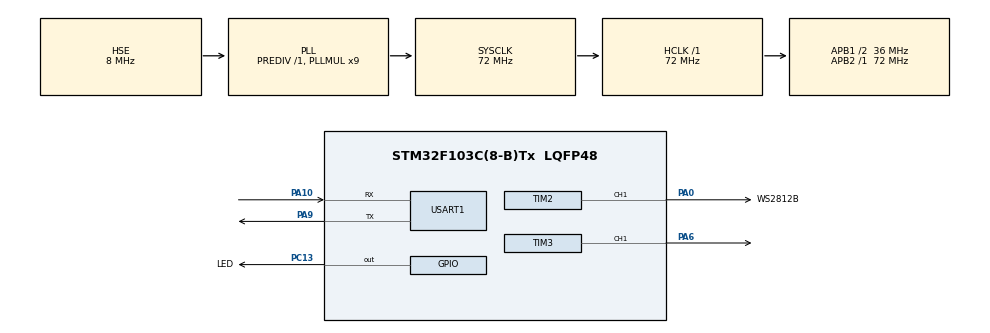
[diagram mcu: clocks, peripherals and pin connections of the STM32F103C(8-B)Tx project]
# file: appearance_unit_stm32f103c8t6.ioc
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FREERTOS.Tasks01=defaultTask,24,128,StartDefaultTask,Default,NULL,Dynamic,NULL,NULL
Mcu.Family=STM32F1
Mcu.Name=STM32F103C(8-B)Tx
Mcu.Package=LQFP48
NVIC.PriorityGroup=NVIC_PRIORITYGROUP_4
NVIC.TIM1_UP_IRQn=true\:15\:0\:false\:false\:true\:false\:false\:true\:true
NVIC.TimeBase=TIM1_UP_IRQn
NVIC.TimeBaseIP=TIM1
PA0-WKUP.GPIO_Label=WS2812B
PA0-WKUP.Signal=S_TIM2_CH1_ETR
PA10.Mode=Asynchronous
PA10.Signal=USART1_RX
PA13.Mode=Serial_Wire
PA13.Signal=SYS_JTMS-SWDIO
PA14.Mode=Serial_Wire
PA14.Signal=SYS_JTCK-SWCLK
PA6.Signal=S_TIM3_CH1
PA9.Mode=Asynchronous
PA9.Signal=USART1_TX
PC13-TAMPER-RTC.GPIO_Label=LED
PC13-TAMPER-RTC.Signal=GPIO_Output
PD0-OSC_IN.Mode=HSE-External-Oscillator
PD0-OSC_IN.Signal=RCC_OSC_IN
PD1-OSC_OUT.Mode=HSE-External-Oscillator
PD1-OSC_OUT.Signal=RCC_OSC_OUT
ProjectManager.HeapSize=0x200
ProjectManager.StackSize=0x400
ProjectManager.TargetToolchain=CMake
RCC.AHBFreq_Value=72000000
RCC.APB1CLKDivider=RCC_HCLK_DIV2
RCC.APB1Freq_Value=36000000
RCC.APB1TimFreq_Value=72000000
RCC.APB2Freq_Value=72000000
RCC.APB2TimFreq_Value=72000000
RCC.HCLKFreq_Value=72000000
RCC.PLLMUL=RCC_PLL_MUL9
RCC.PLLSourceVirtual=RCC_PLLSOURCE_HSE
RCC.SYSCLKFreq_VALUE=72000000
RCC.SYSCLKSource=RCC_SYSCLKSOURCE_PLLCLK
RCC.USBFreq_Value=72000000
SH.S_TIM2_CH1_ETR.0=TIM2_CH1,PWM Generation1 CH1
SH.S_TIM3_CH1.0=TIM3_CH1,PWM Generation1 CH1
TIM2.AutoReloadPreload=TIM_AUTORELOAD_PRELOAD_DISABLE
TIM2.Channel-PWM\ Generation1\ CH1=TIM_CHANNEL_1
TIM2.Prescaler=0
TIM3.AutoReloadPreload=TIM_AUTORELOAD_PRELOAD_ENABLE
TIM3.Channel-PWM\ Generation1\ CH1=TIM_CHANNEL_1
TIM3.Prescaler=71
USART1.VirtualMode=VM_ASYNC
VP_FREERTOS_VS_CMSIS_V2.Mode=CMSIS_V2
VP_SYS_VS_tim1.Mode=TIM1
board=custom

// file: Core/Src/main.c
/* USER CODE BEGIN Header */
/**
  ******************************************************************************
  * @file           : main.c
  * @brief          : Main program body
  ******************************************************************************
  * @attention
  *
  * Copyright (c) 2026 STMicroelectronics.
  * All rights reserved.
  *
  * This software is licensed under terms that can be found in the LICENSE file
  * in the root directory of this software component.
  * If no LICENSE file comes with this software, it is provided AS-IS.
  *
  ******************************************************************************
  */
/* USER CODE END Header */
#include "main.h"
#include "cmsis_os.h"
#include "tim.h"
#include "usart.h"
#include "gpio.h"

/* USER CODE BEGIN Includes */

#include "ws2812b.h"

/* USER CODE END Includes */

/* USER CODE BEGIN PD */

#define LEDS 37

/* USER CODE END PD */

/* USER CODE BEGIN PV */

uint8_t uart_rx_buffer[1];

/* USER CODE END PV */

void SystemClock_Config(void);
void MX_FREERTOS_Init(void);

/* USER CODE BEGIN 0 */

// TIME TO ADD SOME MISHURA!!!

// Defining functions to use buzzer (IDK why I need that but it looks...no... sounds very nice)
static void Tone(uint32_t Frequency)
{
    TIM3->ARR = (1000000UL / Frequency) - 1; // Set The PWM Frequency
    TIM3->CCR1 = (TIM3->ARR >> 1); // Set Duty Cycle 50%
}

static void noTone() {TIM3->CCR1 = 0;} // Set Duty Cycle 0%

// Defining melodies
static void powerup_sound()
{
  Tone(523);
  HAL_Delay(30);
  noTone();
  HAL_Delay(20);

  Tone(698);
  HAL_Delay(30);
  noTone();
  HAL_Delay(20);
}

static void inited_sound()
{
  Tone(392);
  HAL_Delay(70);
  noTone();
  HAL_Delay(30);

  Tone(523);
  HAL_Delay(70);
  noTone();
  HAL_Delay(30);

  Tone(622);
  HAL_Delay(70);
  noTone();
  HAL_Delay(30);

  Tone(784);
  HAL_Delay(70);
  noTone();
  HAL_Delay(30);
}

static void alert_sound()
{
  for(uint8_t i=0;i<4;i++)
  {
    Tone(1047);
    HAL_Delay(70);
    noTone();
    HAL_Delay(30);
  }
  noTone();
}

static void failure_sound()
{
  for(uint8_t i=0;i<5;i++)
  {
    Tone(523);
    HAL_Delay(70);
    noTone();
    HAL_Delay(50);
  }
}

static void powerup_animation()
{
  for(uint8_t i=0;i<LEDS;i++)
  {
    for(uint8_t ii=i;ii<i+2;ii++) {WS2812B_setPixel(0,i+ii,255,255,0);}
    WS2812B_sendBuffer();
    HAL_Delay(100);
    WS2812B_clearBuffer();
  }
  for(uint8_t i=LEDS;i>0;i--)
  {
    for(uint8_t ii=i+2;ii>i;ii--) {WS2812B_setPixel(0,i+ii,255,255,0);}
    WS2812B_sendBuffer();
    HAL_Delay(100);
    WS2812B_clearBuffer();
  }
}

/* USER CODE END 0 */

int main(void)
{

  /* MCU Configuration--------------------------------------------------------*/

  /* Reset of all peripherals, Initializes the Flash interface and the Systick. */
6  HAL_Init();

  /* Configure the system clock */
  SystemClock_Config();

  /* Initialize all configured peripherals */
  MX_GPIO_Init();
  MX_TIM2_Init();
  MX_USART1_UART_Init();
  MX_TIM3_Init();
  /* USER CODE BEGIN 2 */

  HAL_TIM_PWM_Start(&htim2, TIM_CHANNEL_2);
  WS2812B_init();

  Tone(1000);
  HAL_Delay(50);
  noTone();
  HAL_Delay(500);

  powerup_sound();
  powerup_animation();

  /* USER CODE END 2 */

  /* Init scheduler */
  osKernelInitialize();  /* Call init function for freertos objects (in cmsis_os2.c) */
  MX_FREERTOS_Init();

  /* Start scheduler */
  osKernelStart();

  /* We should never get here as control is now taken by the scheduler */

  /* Infinite loop */
  while (1)
  {

  }
}

void SystemClock_Config(void)
{
  RCC_OscInitTypeDef RCC_OscInitStruct = {0};
  RCC_ClkInitTypeDef RCC_ClkInitStruct = {0};

  /** Initializes the RCC Oscillators according to the specified parameters
  * in the RCC_OscInitTypeDef structure.
  */
  RCC_OscInitStruct.OscillatorType = RCC_OSCILLATORTYPE_HSE;
  RCC_OscInitStruct.HSEState = RCC_HSE_ON;
  RCC_OscInitStruct.HSEPredivValue = RCC_HSE_PREDIV_DIV1;
  RCC_OscInitStruct.HSIState = RCC_HSI_ON;
  RCC_OscInitStruct.PLL.PLLState = RCC_PLL_ON;
  RCC_OscInitStruct.PLL.PLLSource = RCC_PLLSOURCE_HSE;
  RCC_OscInitStruct.PLL.PLLMUL = RCC_PLL_MUL9;
  if (HAL_RCC_OscConfig(&RCC_OscInitStruct) != HAL_OK)
  {
    Error_Handler();
  }

  /** Initializes the CPU, AHB and APB buses clocks
  */
  RCC_ClkInitStruct.ClockType = RCC_CLOCKTYPE_HCLK|RCC_CLOCKTYPE_SYSCLK
                              |RCC_CLOCKTYPE_PCLK1|RCC_CLOCKTYPE_PCLK2;
  RCC_ClkInitStruct.SYSCLKSource = RCC_SYSCLKSOURCE_PLLCLK;
  RCC_ClkInitStruct.AHBCLKDivider = RCC_SYSCLK_DIV1;
  RCC_ClkInitStruct.APB1CLKDivider = RCC_HCLK_DIV2;
  RCC_ClkInitStruct.APB2CLKDivider = RCC_HCLK_DIV1;

  if (HAL_RCC_ClockConfig(&RCC_ClkInitStruct, FLASH_LATENCY_2) != HAL_OK)
  {
    Error_Handler();
  }
}

/* USER CODE BEGIN 4 */

void HAL_UART_RxCpltCallback(UART_HandleTypeDef *huart)
{
  if(huart->Instance == USART1)
  {
    HAL_UART_Receive_IT(&huart1,uart_rx_buffer,1);
  }
}

/* USER CODE END 4 */

void HAL_TIM_PeriodElapsedCallback(TIM_HandleTypeDef *htim)
{
  if (htim->Instance == TIM1)
  {
    HAL_IncTick();
  }
}

void Error_Handler(void)
{
  __disable_irq();
  while (1)
  {
  }
}
